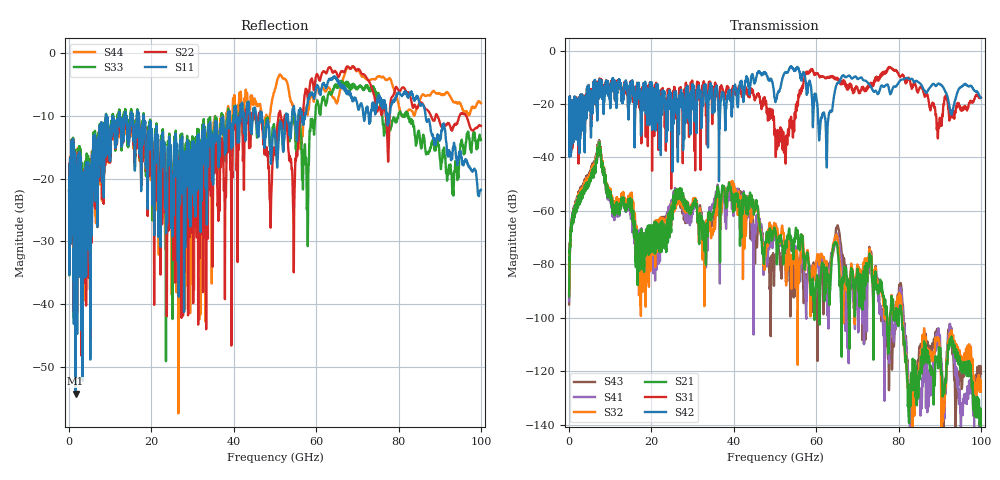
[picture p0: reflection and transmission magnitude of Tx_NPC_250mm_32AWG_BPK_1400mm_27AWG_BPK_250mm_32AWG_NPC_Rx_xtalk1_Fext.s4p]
! Info: Touchstone file created by Circ.  Input file=Tx_NPC_250mm_32AWG_BPK_1400mm_27AWG_BPK_250mm_32AWG_NPC_Rx.circ
# Hz S RI R 50
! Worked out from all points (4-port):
!   10000 points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, 10 MHz to 100 GHz, reference 50 ohm
!   strongest paths, dB at 10 MHz, 25.01 GHz, 50.01 GHz, 75.01 GHz, 100 GHz:
!     S42: -25.8, -19.4, -18.4, -16.3, -17.6
!     S31: -25.8, -23.7, -29.5, -10.3, -17.5
!     S21: -92.0, -58.4, -66.9, -90.9, -140.7
!     S32: -91.2, -58.1, -65.9, -89.3, -127.6
!     S41: -93.9, -56.1, -66.9, -91.1, -136.3
!     S43: -95.0, -56.5, -78.4, -90.4, -121.0
!   lowest |S11| = -54.3 dB at 1.57 GHz (marker M1), VSWR 1.00, Z = 49.9 + j0.18 ohm
!   |S11| at or under -10 dB: start of sweep to 8.967 GHz; 18.1 GHz to 38.56 GHz (20.45 GHz wide, 72.2 % of centre); 86.59 GHz to end of sweep (the widest 3 of 32)
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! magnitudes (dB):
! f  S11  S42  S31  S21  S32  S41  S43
! 10 MHz  -22.0  -25.8  -25.8  -92.0  -91.2  -93.9  -95.0
! 1.57 GHz  -54.3  -28.6  -28.5  -58.1  -57.8  -57.5  -57.0
! 7.28 GHz  -19.1  -16.3  -15.9  -34.4  -34.2  -33.9  -33.5
! 17.78 GHz  -11.9  -15.7  -13.8  -75.6  -80.9  -79.2  -78.7
! 39.25 GHz  -11.2  -18.5  -16.6  -51.0  -49.2  -52.8  -51.5
! 47.39 GHz  -13.6  -8.5  -19.3  -78.2  -80.4  -77.8  -76.8
! 100 GHz  -21.8  -17.6  -17.5  -140.7  -127.6  -136.3  -121.0
